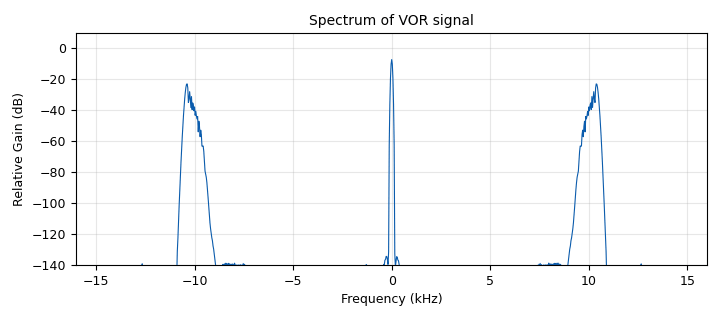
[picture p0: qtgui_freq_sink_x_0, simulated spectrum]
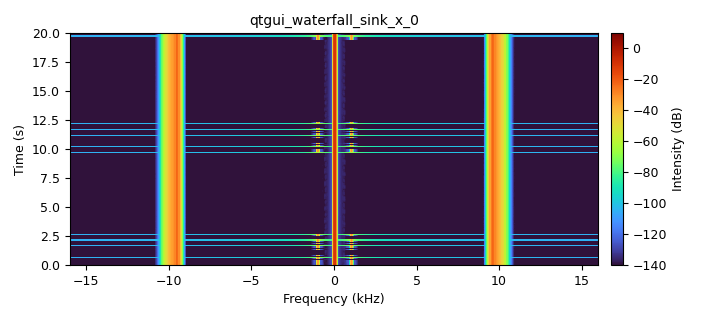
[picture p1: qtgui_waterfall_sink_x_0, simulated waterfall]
options:
  parameters:
    category: Custom
    comment: Generate a CVOR Test Signal
    generate_options: qt_gui
    id: cvor
    output_language: python
  states: {}

blocks:
- name: angle
  id: variable_qtgui_range
  parameters:
    comment: Choose angle of radial
    gui_hint: 1, 0, 1, 2
    label: Angle [deg]
    orient: Qt.Vertical
    rangeType: int
    start: '0'
    step: '1'
    stop: '360'
    value: '0'
  states: {}
- name: audio_volume
  id: variable_qtgui_range
  parameters:
    gui_hint: ' 0, 0, 1, 1'
    label: Audio Volume
    orient: Qt.Horizontal
    start: '0'
    step: '0.01'
    stop: '1'
    value: '0.1'
  states: {}
- name: ident_volume
  id: variable_qtgui_range
  parameters:
    gui_hint: ' 0, 1, 1, 1'
    label: Ident Volume
    orient: Qt.Horizontal
    start: '0'
    step: '0.01'
    stop: '0.07'
    value: '0.07'
  states: {}
- name: samp_rate
  id: variable
  parameters:
    value: '32000'
  states: {}
- name: analog_frequency_modulator_fc_0
  id: analog_frequency_modulator_fc
  parameters:
    sensitivity: (2*pi)*480/samp_rate
  states: {}
- name: analog_sig_source_x_0
  id: analog_sig_source_x
  parameters:
    amp: '1'
    comment: Real signal, both sidebands
    freq: '30'
    offset: '0'
    phase: '0'
    samp_rate: samp_rate
    type: float
    waveform: analog.GR_COS_WAVE
  states: {}
- name: analog_sig_source_x_1
  id: analog_sig_source_x
  parameters:
    amp: '1'
    freq: '30'
    offset: '0'
    phase: '0'
    samp_rate: samp_rate
    type: float
    waveform: analog.GR_COS_WAVE
  states: {}
- name: analog_sig_source_x_2
  id: analog_sig_source_x
  parameters:
    amp: '1'
    freq: '9960'
    offset: '0'
    phase: '0'
    samp_rate: samp_rate
    type: complex
    waveform: analog.GR_COS_WAVE
  states: {}
- name: analog_sig_source_x_3
  id: analog_sig_source_x
  parameters:
    amp: '1'
    freq: '1020'
    offset: '0'
    phase: '0'
    samp_rate: samp_rate
    type: complex
    waveform: analog.GR_COS_WAVE
  states: {}
- name: audio_sink_0
  id: audio_sink
  parameters:
    num_inputs: '2'
    samp_rate: '48000'
  states: {}
- name: blocks_add_const_vxx_0
  id: blocks_add_const_vxx
  parameters:
    comment: |-
      Add DC part 
      to get AM
      _with_ carrier
    const: '1'
    type: complex
  states: {}
- name: blocks_add_xx_0
  id: blocks_add_xx
  parameters:
    type: complex
  states: {}
- name: blocks_add_xx_0_0
  id: blocks_add_xx
  parameters:
    num_inputs: '3'
    type: complex
  states: {}
- name: blocks_complex_to_float_0
  id: blocks_complex_to_float
  parameters: {}
  states: {}
- name: blocks_complex_to_float_1
  id: blocks_complex_to_float
  parameters:
    comment: |-
      Generate other sideband of AM.

      Is there a better way to do this?
  states: {}
- name: blocks_delay_0
  id: blocks_delay
  parameters:
    delay: int((angle/360.0) * (samp_rate/30.0))
    type: float
  states: {}
- name: blocks_file_sink_0
  id: blocks_file_sink
  parameters:
    comment: Output signal
    file: /tmp/vor_simulation_32khz.cfile
    type: complex
  states: {}
- name: blocks_float_to_complex_0
  id: blocks_float_to_complex
  parameters: {}
  states: {}
- name: blocks_float_to_complex_1
  id: blocks_float_to_complex
  parameters: {}
  states: {}
- name: blocks_multiply_const_vxx_0
  id: blocks_multiply_const_vxx
  parameters:
    const: '0.3'
    type: float
  states: {}
- name: blocks_multiply_const_vxx_1
  id: blocks_multiply_const_vxx
  parameters:
    const: ident_volume
    type: complex
  states: {}
- name: blocks_multiply_const_vxx_2
  id: blocks_multiply_const_vxx
  parameters:
    const: '0.3'
    type: complex
  states: {}
- name: blocks_multiply_const_vxx_3_0
  id: blocks_multiply_const_vxx
  parameters:
    const: audio_volume
    type: complex
  states: {}
- name: blocks_multiply_xx_0
  id: blocks_multiply_xx
  parameters:
    type: complex
  states: {}
- name: blocks_multiply_xx_1
  id: blocks_multiply_xx
  parameters:
    type: complex
  states: {}
- name: blocks_repeat_0_0
  id: blocks_repeat
  parameters:
    interp: int(samp_rate/8)
    type: complex
  states: {}
- name: blocks_throttle_0
  id: blocks_throttle
  parameters:
    samples_per_second: samp_rate
    type: float
  states: {}
- name: blocks_throttle_1
  id: blocks_throttle
  parameters:
    samples_per_second: samp_rate
    type: complex
  states: {}
- name: blocks_throttle_2
  id: blocks_throttle
  parameters:
    samples_per_second: samp_rate
    type: complex
  states: {}
- name: blocks_vector_source_x_0
  id: blocks_vector_source_x
  parameters:
    repeat: 'True'
    type: complex
    vector: (1,1,1,0,1,0,1,0,0,0,1,0,1,0,1,0,1,0,0,0,1,0,0,0,0,0,0,0,0,0,0,0,0,0,0,0,0,0,0,0,0,0,0,0,0,0,0,0,0,0,0,0,0,0,0,0,0,0,0,0,0,0,0,0,0,0,0,0,0,0,0,0,0,0,0,0,0)
  states: {}
- name: import_0
  id: import
  parameters:
    imports: from math import pi
  states: {}
- name: note_0
  id: note
  parameters:
    note: Build Baseband Signal
  states: {}
- name: note_1
  id: note
  parameters:
    note: FM Reference @9.96 khz
  states: {}
- name: note_1_0
  id: note
  parameters:
    note: AM Rotation @30 Hz
  states: {}
- name: note_1_1
  id: note
  parameters:
    note: Morse Ident @1020 Hz
  states: {}
- name: qtgui_freq_sink_x_0
  id: qtgui_freq_sink_x
  parameters:
    bw: samp_rate
    fc: '0'
    fftsize: '1024'
    name: '"Spectrum of VOR signal"'
    showports: 'True'
    type: complex
    wintype: firdes.WIN_BLACKMAN_hARRIS
  states: {}
- name: qtgui_waterfall_sink_x_0
  id: qtgui_waterfall_sink_x
  parameters:
    bw: samp_rate
    fc: '0'
    fftsize: '1024'
    type: complex
    wintype: firdes.WIN_BLACKMAN_hARRIS
  states: {}
- name: rational_resampler_xxx_0
  id: rational_resampler_xxx
  parameters:
    decim: '2'
    interp: '3'
    taps: '1'
    type: ccc
  states: {}
- name: virtual_sink_0
  id: virtual_sink
  parameters:
    stream_id: rotation
  states: {}
- name: virtual_sink_1
  id: virtual_sink
  parameters:
    stream_id: reference
  states: {}
- name: virtual_sink_2
  id: virtual_sink
  parameters:
    stream_id: ident
  states: {}
- name: virtual_source_0
  id: virtual_source
  parameters:
    stream_id: reference
  states: {}
- name: virtual_source_1
  id: virtual_source
  parameters:
    stream_id: rotation
  states: {}
- name: virtual_source_2
  id: virtual_source
  parameters:
    stream_id: ident
  states: {}

connections:
- [analog_frequency_modulator_fc_0, '0', blocks_multiply_xx_0, '0']
- [analog_sig_source_x_0, '0', blocks_throttle_0, '0']
- [analog_sig_source_x_1, '0', analog_frequency_modulator_fc_0, '0']
- [analog_sig_source_x_2, '0', blocks_throttle_1, '0']
- [analog_sig_source_x_3, '0', blocks_throttle_2, '0']
- [blocks_add_const_vxx_0, '0', blocks_add_xx_0_0, '0']
- [blocks_add_xx_0, '0', blocks_add_xx_0_0, '1']
- [blocks_add_xx_0, '0', blocks_complex_to_float_1, '0']
- [blocks_add_xx_0_0, '0', blocks_file_sink_0, '0']
- [blocks_add_xx_0_0, '0', qtgui_freq_sink_x_0, '0']
- [blocks_add_xx_0_0, '0', qtgui_waterfall_sink_x_0, '0']
- [blocks_add_xx_0_0, '0', rational_resampler_xxx_0, '0']
- [blocks_complex_to_float_0, '0', audio_sink_0, '0']
- [blocks_complex_to_float_0, '1', audio_sink_0, '1']
- [blocks_complex_to_float_1, '0', blocks_float_to_complex_1, '1']
- [blocks_complex_to_float_1, '1', blocks_float_to_complex_1, '0']
- [blocks_delay_0, '0', blocks_multiply_const_vxx_0, '0']
- [blocks_float_to_complex_0, '0', virtual_sink_0, '0']
- [blocks_float_to_complex_1, '0', blocks_add_xx_0_0, '2']
- [blocks_multiply_const_vxx_0, '0', blocks_float_to_complex_0, '0']
- [blocks_multiply_const_vxx_1, '0', virtual_sink_2, '0']
- [blocks_multiply_const_vxx_2, '0', virtual_sink_1, '0']
- [blocks_multiply_const_vxx_3_0, '0', blocks_complex_to_float_0, '0']
- [blocks_multiply_xx_0, '0', blocks_multiply_const_vxx_2, '0']
- [blocks_multiply_xx_1, '0', blocks_multiply_const_vxx_1, '0']
- [blocks_repeat_0_0, '0', blocks_multiply_xx_1, '0']
- [blocks_throttle_0, '0', blocks_delay_0, '0']
- [blocks_throttle_1, '0', blocks_multiply_xx_0, '1']
- [blocks_throttle_2, '0', blocks_multiply_xx_1, '1']
- [blocks_vector_source_x_0, '0', blocks_repeat_0_0, '0']
- [rational_resampler_xxx_0, '0', blocks_multiply_const_vxx_3_0, '0']
- [virtual_source_0, '0', blocks_add_xx_0, '0']
- [virtual_source_1, '0', blocks_add_const_vxx_0, '0']
- [virtual_source_2, '0', blocks_add_xx_0, '1']

metadata:
  file_format: 1
